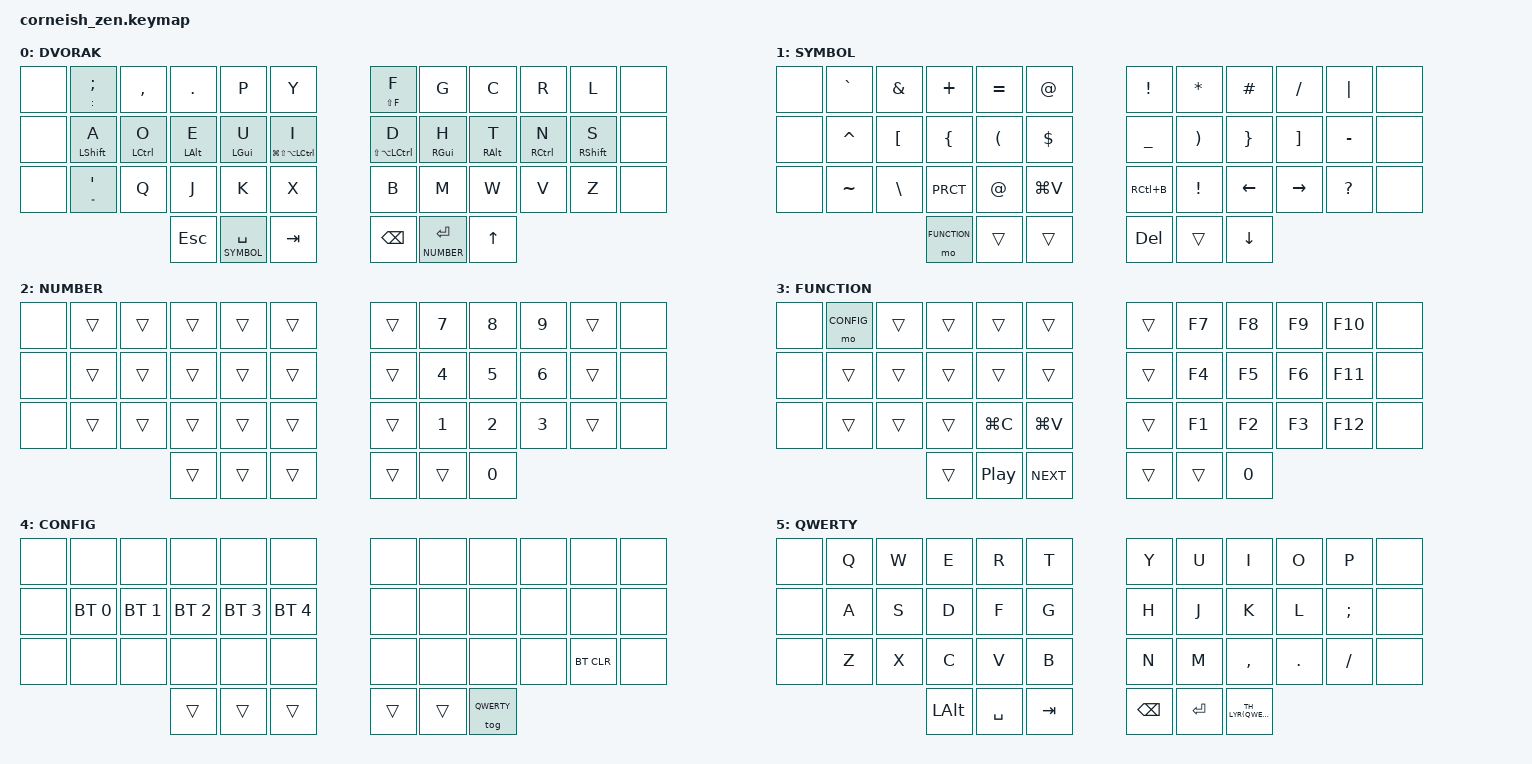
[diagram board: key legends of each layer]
/*
*
* Copyright (c) 2021 lowprokb.ca
* SPDX-License-Identifier: MIT
*
* TODO: 
*       Kep repeat on double press for home row mod keys
*/
#include <behaviors.dtsi>
#include <dt-bindings/zmk/keys.h>
#include <dt-bindings/zmk/bt.h>

#define DVORAK 0
#define SYMBOL 1
#define NUMBER 2
#define FUNCTION 3
#define CONFIG 4
#define QWERTY 5

&lt { quick_tap_ms = <250>; };

#define TH_LYR(layer) &tap_hold_layer layer layer   // Macro to apply momentary-layer-on-hold/toggle-layer-on-tap to a specific layer


/ {
        behaviors {
            hm: homerow_mods {
                compatible = "zmk,behavior-hold-tap";
                label = "HOMEROW_MODS";
                #binding-cells = <2>;
                tapping-term-ms = <225>;
                quick_tap_ms = <250>;
                flavor = "tap-preferred";
                bindings = <&kp>, <&kp>;
            };

           hold: hold {
                compatible = "zmk,behavior-hold-tap";
                label = "HOLD";
                #binding-cells = <2>;
                tapping-term-ms = <225>;
                flavor = "hold-preferred";
                bindings = <&kp>, <&kp>;
            };

           // Momentarily and permanently toggle into a layer
           tap_hold_layer: behavior_mo_tog {
                compatible = "zmk,behavior-hold-tap";
                #binding-cells = <2>;
                flavor = "hold-preferred";
                tapping-term-ms = <225>;
                bindings = <&tog>, <&mo>;
           };
  
        };
        keymap {
                compatible = "zmk,keymap";

                default_layer {
                        label = "DVORAK";
                        bindings = <
   &none   &hold COLON SEMI   &kp COMMA   &kp DOT    &kp P      &kp Y                         &hm LS(F) F         &kp G      &kp C            &kp R         &kp L        &none
   &none   &hm LSHIFT A     &hm LCTRL O &hm LALT E &hm LGUI U &hm LG(LS(LA(LCTRL))) I       &hm LS(LA(LCTRL)) D &hm RGUI H &hm RALT T    &hm RCTRL N  &hm RSHIFT S &none
   &none   &hold DQT SQT      &kp Q       &kp J      &kp K      &kp X                         &kp B &kp M      &kp W            &kp V         &kp Z        &none
                                          &kp ESC   &lt SYMBOL SPC     &kp TAB    &kp BSPC   &lt NUMBER ENTER &kp UP
                        >;
                };

                symbol_layer {
                        label = "SYMBOL";
                        bindings = < 
   &none     &kp GRAVE &kp AMPS &kp PLUS &kp EQUAL &kp AT        &kp EXCL    &kp ASTRK &kp HASH &kp SLASH &kp PIPE   &none
   &none     &kp CARET &kp LBKT &kp LBRC &kp LPAR  &kp DLLR      &kp UNDER   &kp RPAR  &kp RBRC &kp RBKT  &kp MINUS  &none
   &none     &kp TILDE &kp BSLH &kp PRCT &kp AT    &kp LG(V)     &kp RC(B)   &kp EXCL  &kp LEFT &kp RIGHT &kp QMARK  &none
                                 &mo FUNCTION &trans &trans    &kp DEL &trans &kp DOWN
                        >;
                };

                number_layer {
                        label = "NUMBER";
                        bindings = <
   &none    &trans &trans  &trans &trans  &trans     &trans   &kp N7   &kp N8  &kp N9   &trans   &none
   &none    &trans &trans  &trans &trans  &trans     &trans   &kp N4   &kp N5  &kp N6   &trans   &none
   &none    &trans &trans  &trans &trans  &trans     &trans   &kp N1   &kp N2  &kp N3   &trans   &none
                           &trans &trans &trans     &trans &trans &kp N0
                        >;
                };

                function_layer {
                        label = "FUNCTION";
                        bindings = <
   &none    &mo CONFIG  &trans  &trans  &trans     &trans        &trans   &kp F7   &kp F8  &kp F9   &kp F10   &none
   &none    &trans      &trans  &trans  &trans     &trans        &trans   &kp F4   &kp F5  &kp F6   &kp F11   &none
   &none    &trans      &trans  &trans  &kp LG(C)  &kp LG(V)     &trans   &kp F1   &kp F2  &kp F3   &kp F12   &none
                           &trans &kp C_PP &kp C_NEXT     &trans &trans &kp N0
                        >;
                };

                config_layer {
                        label = "CONFIG";
                        bindings = <
   &none     &none         &none        &none        &none        &none           &none &none &none &none &none &none 
   &none     &bt BT_SEL 0  &bt BT_SEL 1 &bt BT_SEL 2 &bt BT_SEL 3 &bt BT_SEL 4    &none &none &none &none &none &none
   &none     &none        &none        &none        &none         &none           &none &none &none &none &bt BT_CLR &none
                                                &trans &trans &trans    &trans &trans &tog QWERTY
                        >;
                };

                qwerty_layer {
                        label = "QWERTY";
                        bindings = <
   &none   &kp Q   &kp W   &kp E    &kp R    &kp T                         &kp Y    &kp U   &kp I       &kp O     &kp P      &none
   &none   &kp A   &kp S   &kp D    &kp F    &kp G                         &kp H    &kp J   &kp K       &kp L     &kp SEMI   &none
   &none   &kp Z   &kp X   &kp C    &kp V    &kp B                         &kp N    &kp M   &kp COMMA   &kp DOT   &kp SLASH  &none
                                     &kp LALT   &kp SPC   &kp TAB    &kp BSPC   &kp ENTER   &kp TH_LYR(QWERTY)
                        >;
                };
        };
};
